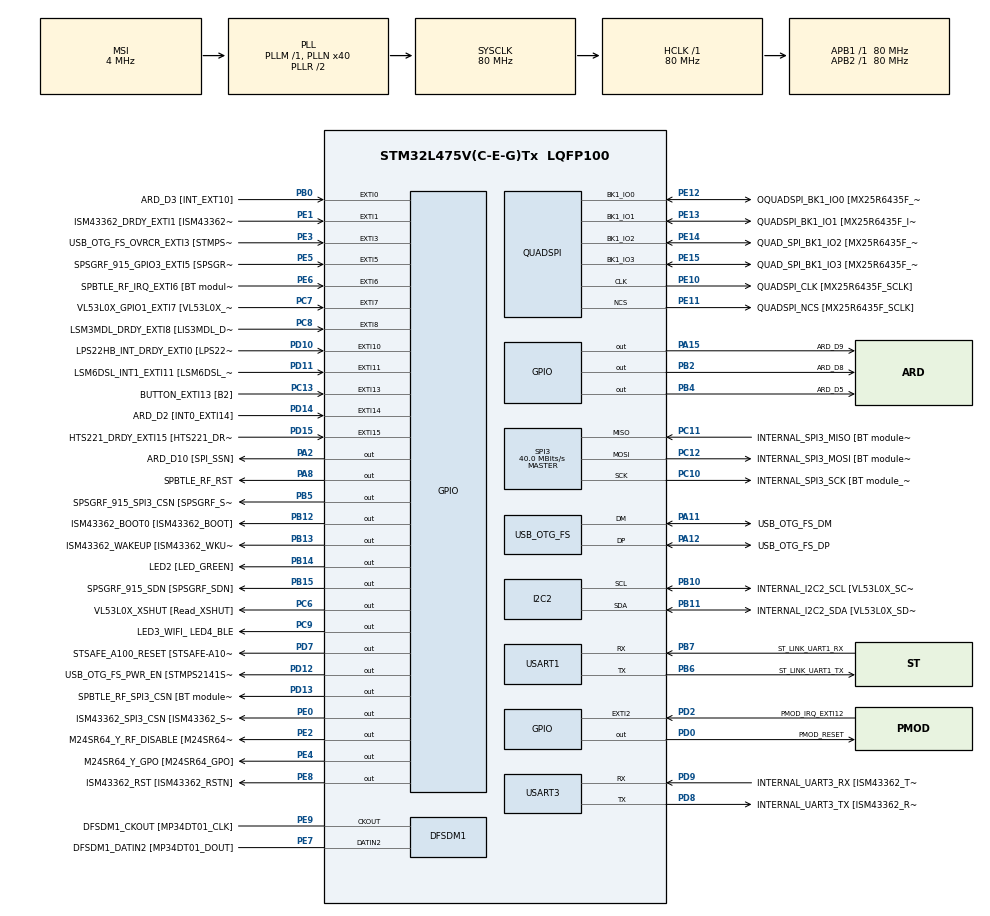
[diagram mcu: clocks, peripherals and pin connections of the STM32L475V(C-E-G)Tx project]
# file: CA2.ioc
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Mcu.Family=STM32L4
Mcu.Name=STM32L475V(C-E-G)Tx
Mcu.Package=LQFP100
NVIC.EXTI15_10_IRQn=true\:0\:0\:false\:false\:true\:true\:true\:true
NVIC.EXTI9_5_IRQn=true\:0\:0\:false\:false\:true\:true\:true\:true
NVIC.PriorityGroup=NVIC_PRIORITYGROUP_4
PA0.GPIO_Label=ARD_D1 [UART4_TX]
PA0.Signal=UART4_TX
PA1.GPIO_Label=ARD_D0 [UART4_RX]
PA1.Signal=UART4_RX
PA10.GPIO_Label=USB_OTG_FS_ID
PA10.Signal=USB_OTG_FS_ID
PA11.GPIO_Label=USB_OTG_FS_DM
PA11.Mode=Device_Only
PA11.Signal=USB_OTG_FS_DM
PA12.GPIO_Label=USB_OTG_FS_DP
PA12.Mode=Device_Only
PA12.Signal=USB_OTG_FS_DP
PA13\ (JTMS-SWDIO).GPIO_Label=SYS_JTMS_SWDIO
PA13\ (JTMS-SWDIO).Mode=Serial_Wire
PA13\ (JTMS-SWDIO).Signal=SYS_JTMS-SWDIO
PA14\ (JTCK-SWCLK).GPIO_Label=SYS_JTCK_SWCLK
PA14\ (JTCK-SWCLK).Mode=Serial_Wire
PA14\ (JTCK-SWCLK).Signal=SYS_JTCK-SWCLK
PA15\ (JTDI).GPIO_Label=ARD_D9
PA15\ (JTDI).Signal=GPIO_Output
PA2.GPIO_Label=ARD_D10 [SPI_SSN]
PA2.Signal=GPIO_Output
PA3.GPIO_Label=ARD_D4
PA3.Signal=S_TIM2_CH4
PA4.GPIO_Label=ARD_D7
PA4.Signal=ADCx_IN9
PA5.GPIO_Label=ARD_D13 [SPI1_SCK]
PA5.Signal=SPI1_SCK
PA6.GPIO_Label=ARD_D12 [SPI1_MISO]
PA6.Signal=SPI1_MISO
PA7.GPIO_Label=ARD_D11 [SPI1_MOSI]
PA7.Signal=SPI1_MOSI
PA8.GPIO_Label=SPBTLE_RF_RST
PA8.Signal=GPIO_Output
PA9.GPIO_Label=USB_OTG_FS_VBUS [STMPS2141STR_OUT]
PA9.Signal=USB_OTG_FS_VBUS
PB0.GPIO_Label=ARD_D3 [INT_EXT10]
PB0.Signal=GPXTI0
PB1.GPIO_Label=ARD_D6 [ADC1_IN6]
PB1.Signal=ADCx_IN16
PB10.GPIO_Label=INTERNAL_I2C2_SCL [VL53L0X_SCL]
PB10.GPIO_Pu=GPIO_PULLUP
PB10.Mode=I2C
PB10.Signal=I2C2_SCL
PB11.GPIO_Label=INTERNAL_I2C2_SDA [VL53L0X_SDA]
PB11.GPIO_Pu=GPIO_PULLUP
PB11.Mode=I2C
PB11.Signal=I2C2_SDA
PB12.GPIO_Label=ISM43362_BOOT0 [ISM43362_BOOT]
PB12.Signal=GPIO_Output
PB13.GPIO_Label=ISM43362_WAKEUP [ISM43362_WKUP]
PB13.Signal=GPIO_Output
PB14.GPIO_Label=LED2 [LED_GREEN]
PB14.Signal=GPIO_Output
PB15.GPIO_Label=SPSGRF_915_SDN [SPSGRF_SDN]
PB15.Signal=GPIO_Output
PB2.GPIO_Label=ARD_D8
PB2.Signal=GPIO_Output
PB3\ (JTDO-TRACESWO).GPIO_Label=SYS_JTD0_SWO
PB3\ (JTDO-TRACESWO).Signal=SYS_JTDO-SWO
PB4\ (NJTRST).GPIO_Label=ARD_D5
PB4\ (NJTRST).Signal=GPIO_Output
PB5.GPIO_Label=SPSGRF_915_SPI3_CSN [SPSGRF_SPI_CS]
PB5.PinState=GPIO_PIN_SET
PB5.Signal=GPIO_Output
PB6.GPIO_Label=ST_LINK_UART1_TX
PB6.Mode=Asynchronous
PB6.Signal=USART1_TX
PB7.GPIO_Label=ST_LINK_UART1_RX
PB7.Mode=Asynchronous
PB7.Signal=USART1_RX
PB8.GPIO_Label=ARD_D15 [I2C1_SCL]
PB8.Signal=I2C1_SCL
PB9.GPIO_Label=ARD_D14 [I2C1_SDA]
PB9.Signal=I2C1_SDA
PC0.GPIO_Label=ARD_A5 [ADC]
PC0.Signal=ADCx_IN1
PC1.GPIO_Label=ARD_A4 [ADC]
PC1.Signal=ADCx_IN2
PC10.GPIO_Label=INTERNAL_SPI3_SCK [BT module_SPI_SCLK] [ISM43362_SCK]
PC10.Mode=Full_Duplex_Master
PC10.Signal=SPI3_SCK
PC11.GPIO_Label=INTERNAL_SPI3_MISO [BT module_SPI_MISO] [ISM43362_MISO]
PC11.Mode=Full_Duplex_Master
PC11.Signal=SPI3_MISO
PC12.GPIO_Label=INTERNAL_SPI3_MOSI [BT module_SPI_MOSI] [ISM43362_MOSI]
PC12.Mode=Full_Duplex_Master
PC12.Signal=SPI3_MOSI
PC13.GPIO_Label=BUTTON_EXTI13 [B2]
PC13.GPIO_ModeDefaultEXTI=GPIO_MODE_IT_FALLING
PC13.Signal=GPXTI13
PC14-OSC32_IN\ (PC14).Mode=LSE-External-Oscillator
PC14-OSC32_IN\ (PC14).Signal=RCC_OSC32_IN
PC15-OSC32_OUT\ (PC15).Mode=LSE-External-Oscillator
PC15-OSC32_OUT\ (PC15).Signal=RCC_OSC32_OUT
PC2.GPIO_Label=ARD_A3 [ADC]
PC2.Signal=ADCx_IN3
PC3.GPIO_Label=ARD_A2 [ADC]
PC3.Signal=ADCx_IN4
PC4.GPIO_Label=ARD_A1 [ADC]
PC4.Signal=ADCx_IN13
PC5.GPIO_Label=ARD_A0 [ADC]
PC5.Signal=ADCx_IN14
PC6.GPIO_Label=VL53L0X_XSHUT [Read_XSHUT]
PC6.Signal=GPIO_Output
PC7.GPIO_Label=VL53L0X_GPIO1_EXTI7 [VL53L0X_GPIO1]
PC7.Signal=GPXTI7
PC8.GPIO_Label=LSM3MDL_DRDY_EXTI8 [LIS3MDL_DRDY]
PC8.Signal=GPXTI8
PC9.GPIO_Label=LED3_WIFI_ LED4_BLE
PC9.Signal=GPIO_Output
PD0.GPIO_Label=PMOD_RESET
PD0.Signal=GPIO_Output
PD1.GPIO_Label=PMOD_SPI2_SCK
PD1.Signal=SPI2_SCK
PD10.GPIO_Label=LPS22HB_INT_DRDY_EXTI0 [LPS22HB_INT_DRDY] 
PD10.Signal=GPXTI10
PD11.GPIO_Label=LSM6DSL_INT1_EXTI11 [LSM6DSL_INT1]
PD11.Signal=GPXTI11
PD12.GPIO_Label=USB_OTG_FS_PWR_EN [STMPS2141STR_EN]
PD12.Signal=GPIO_Output
PD13.GPIO_Label=SPBTLE_RF_SPI3_CSN [BT module_SPI_CS]
PD13.PinState=GPIO_PIN_SET
PD13.Signal=GPIO_Output
PD14.GPIO_Label=ARD_D2 [INT0_EXTI14]
PD14.Signal=GPXTI14
PD15.GPIO_Label=HTS221_DRDY_EXTI15 [HTS221_DRDY]
PD15.Signal=GPXTI15
PD2.GPIO_Label=PMOD_IRQ_EXTI12
PD2.Signal=GPXTI2
PD3.GPIO_Label=PMOD_UART2_CTS
PD3.Signal=USART2_CTS
PD4.GPIO_Label=PMOD_UART2_RTS
PD4.Signal=USART2_RTS
PD5.GPIO_Label=PMOD_UART2_TX
PD5.Signal=USART2_TX
PD6.GPIO_Label=PMOD_UART2_RX
PD6.Signal=USART2_RX
PD7.GPIO_Label=STSAFE_A100_RESET [STSAFE-A100_RESET]
PD7.Signal=GPIO_Output
PD8.GPIO_Label=INTERNAL_UART3_TX [ISM43362_RX]
PD8.Mode=Asynchronous
PD8.Signal=USART3_TX
PD9.GPIO_Label=INTERNAL_UART3_RX [ISM43362_TX]
PD9.Mode=Asynchronous
PD9.Signal=USART3_RX
PE0.GPIO_Label=ISM43362_SPI3_CSN [ISM43362_SSN]
PE0.PinState=GPIO_PIN_SET
PE0.Signal=GPIO_Output
PE1.GPIO_Label=ISM43362_DRDY_EXTI1 [ISM43362_DATARDY]
PE1.Signal=GPXTI1
PE10.GPIO_Label=QUADSPI_CLK [MX25R6435F_SCLK]
PE10.Mode=Single Bank
PE10.Signal=QUADSPI_CLK
PE11.GPIO_Label=QUADSPI_NCS [MX25R6435F_SCLK]
PE11.Mode=Single Bank
PE11.Signal=QUADSPI_NCS
PE12.GPIO_Label=OQUADSPI_BK1_IO0 [MX25R6435F_IO0]
PE12.Mode=Single Bank
PE12.Signal=QUADSPI_BK1_IO0
PE13.GPIO_Label=QUADSPI_BK1_IO1 [MX25R6435F_IO1]
PE13.Mode=Single Bank
PE13.Signal=QUADSPI_BK1_IO1
PE14.GPIO_Label=QUAD_SPI_BK1_IO2 [MX25R6435F_IO2]
PE14.Mode=Single Bank
PE14.Signal=QUADSPI_BK1_IO2
PE15.GPIO_Label=QUAD_SPI_BK1_IO3 [MX25R6435F_IO3]
PE15.Mode=Single Bank
PE15.Signal=QUADSPI_BK1_IO3
PE2.GPIO_Label=M24SR64_Y_RF_DISABLE [M24SR64_RFDIS]
PE2.Signal=GPIO_Output
PE3.GPIO_Label=USB_OTG_FS_OVRCR_EXTI3 [STMPS2141STR_FAULT]
PE3.Signal=GPXTI3
PE4.GPIO_Label=M24SR64_Y_GPO [M24SR64_GPO]
PE4.Signal=GPIO_Output
PE5.GPIO_Label=SPSGRF_915_GPIO3_EXTI5 [SPSGRF_GPIO_3]
PE5.Signal=GPXTI5
PE6.GPIO_Label=SPBTLE_RF_IRQ_EXTI6 [BT module_SPI_IRQ]
PE6.Signal=GPXTI6
PE7.GPIO_Label=DFSDM1_DATIN2 [MP34DT01_DOUT]
PE7.Signal=S_DATAIN2DFSDM1
PE8.GPIO_Label=ISM43362_RST [ISM43362_RSTN]
PE8.Signal=GPIO_Output
PE9.GPIO_Label=DFSDM1_CKOUT [MP34DT01_CLK]
PE9.Signal=S_CKOUTDFSDM1
ProjectManager.HeapSize=0x200
ProjectManager.StackSize=0x400
ProjectManager.TargetToolchain=STM32CubeIDE
QUADSPI.ClockPrescaler=2
QUADSPI.FifoThreshold=4
QUADSPI.FlashSize=23
QUADSPI.SampleShifting=QSPI_SAMPLE_SHIFTING_HALFCYCLE
RCC.ADCFreq_Value=48000000
RCC.AHBFreq_Value=80000000
RCC.APB1Freq_Value=80000000
RCC.APB1TimFreq_Value=80000000
RCC.APB2Freq_Value=80000000
RCC.APB2TimFreq_Value=80000000
RCC.CortexFreq_Value=80000000
RCC.HCLKFreq_Value=80000000
RCC.HSE_VALUE=8000000
RCC.HSI_VALUE=16000000
RCC.MSI_VALUE=4000000
RCC.PLLN=40
RCC.PLLSAI1N=24
RCC.SYSCLKFreq_VALUE=80000000
RCC.SYSCLKSource=RCC_SYSCLKSOURCE_PLLCLK
RCC.USBFreq_Value=48000000
RCC.VCOOutputFreq_Value=160000000
SH.ADCx_IN1.0=ADC1_IN1
SH.ADCx_IN13.0=ADC1_IN13
SH.ADCx_IN14.0=ADC1_IN14
SH.ADCx_IN16.0=ADC1_IN16
SH.ADCx_IN2.0=ADC1_IN2
SH.ADCx_IN3.0=ADC1_IN3
SH.ADCx_IN4.0=ADC1_IN4
SH.ADCx_IN9.0=ADC1_IN9
SH.S_CKOUTDFSDM1.0=DFSDM1_CKOUT,CKOUT
SH.S_CKOUTDFSDM1.1=DFSDM1_CKOUT,PDM_SPI_Input_from_ch12_and_Internal_Clock
SH.S_DATAIN2DFSDM1.0=DFSDM1_DATIN2,PDM_SPI_Input_from_ch12_and_Internal_Clock
SH.S_TIM2_CH4.0=TIM2_CH4
SPI3.CalculateBaudRate=40.0 MBits/s
SPI3.Direction=SPI_DIRECTION_2LINES
SPI3.Mode=SPI_MODE_MASTER
SPI3.VirtualType=VM_MASTER
USART1.VirtualMode-Asynchronous=VM_ASYNC
USART3.VirtualMode-Asynchronous=VM_ASYNC
USB_OTG_FS.VirtualMode=Device_Only
board=B-L475E-IOT01A1

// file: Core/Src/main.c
/* USER CODE BEGIN Header */
/**
  ******************************************************************************
  * @file           : main.c
  * @brief          : Main program body
  ******************************************************************************
  * @attention
  *
  * Copyright (c) 2025 STMicroelectronics.
  * All rights reserved.
  *
  * This software is licensed under terms that can be found in the LICENSE file
  * in the root directory of this software component.
  * If no LICENSE file comes with this software, it is provided AS-IS.
  *
  ******************************************************************************
  */
/* USER CODE END Header */
#include "main.h"

/* USER CODE BEGIN Includes */
#include "../../Drivers/BSP/B-L475E-IOT01/stm32l475e_iot01_tsensor.h"
#include "../../Drivers/BSP/B-L475E-IOT01/stm32l475e_iot01_hsensor.h"
#include "../../Drivers/BSP/B-L475E-IOT01/stm32l475e_iot01_psensor.h"
#include "../../Drivers/BSP/B-L475E-IOT01/stm32l475e_iot01_accelero.h"
#include "../../Drivers/BSP/B-L475E-IOT01/stm32l475e_iot01_gyro.h"
#include "../../Drivers/BSP/B-L475E-IOT01/stm32l475e_iot01_magneto.h"
#include "../../Drivers/STM32L4xx_HAL_Driver/Inc/stm32l4xx_hal.h"
#include <time.h>
#include <stdlib.h>
#include <stdio.h>
#include <math.h>
#include <float.h>

/* USER CODE END Includes */

/* USER CODE BEGIN PTD */

typedef enum {
    MODE_RANDOM,
    MODE_FULL_BUFFER,
	MODE_PREDICTIVE
} TransmissionMode;

TransmissionMode transmissionMode = MODE_FULL_BUFFER; // Default to Full buffer mode

/*
 * ODR values:
 *
 * humidity/temp: 1Hz
 * accel/gyro: 52Hz
 * pressure: 25Hz
 * magnetometer: 40Hz
 */

#define TEMP_BUFFER_CAPACITY       5
#define HUMIDITY_BUFFER_CAPACITY   5
#define ACCEL_BUFFER_CAPACITY      50
#define GYRO_BUFFER_CAPACITY       50
#define PRESSURE_BUFFER_CAPACITY   20
#define MAG_BUFFER_CAPACITY        40

#define TRANSMISSION_INTERVAL 1000 //used to test when using interval transmissions for data loss
uint32_t lastTransmissionTime = 0;

// FIFO structure for scalar (float) sensor data (e.g. temperature, humidity, pressure)
typedef struct {
    float *data;
    uint8_t head;
    uint8_t tail;
    uint8_t count;
    uint32_t *timestamp;
    uint8_t capacity;
} FIFO_Float;

// Structure for 3-axis vector data (e.g. accelerometer, magnetometer)

typedef struct {
    float x;
    float y;
    float z;
} Vector3;

typedef struct {
    Vector3 *data;
    uint8_t head;
    uint8_t tail;
    uint8_t count;
    uint32_t *timestamp;
    uint8_t capacity;
} FIFO_Vector;

/* USER CODE END PTD */

/* USER CODE BEGIN PD */

// Threshold definitions
#define HIGH_TEMP_THRESHOLD    27.0f    // High temp threshold in degC default 27
#define LOW_HUMIDITY_THRESHOLD 30.0f    // Humidity low threshold in %
#define HIGH_HUMIDITY_THRESHOLD 101.0f	// Humidity high threshold in %, set at 101 to disable, 70 as spec
#define VIBRATION_THRESHOLD_X    2.0f     // 1 m/s^2 is default threadhold. Using 11 for testing purposes.
#define VIBRATION_THRESHOLD_Y    2.0f
#define VIBRATION_THRESHOLD_Z    11.0f

/* USER CODE END PD */

DFSDM_Channel_HandleTypeDef hdfsdm1_channel1;

I2C_HandleTypeDef hi2c2;

QSPI_HandleTypeDef hqspi;

SPI_HandleTypeDef hspi3;

UART_HandleTypeDef huart1;
UART_HandleTypeDef huart3;

PCD_HandleTypeDef hpcd_USB_OTG_FS;

/* USER CODE BEGIN PV */

volatile uint8_t criticalEventFlag = 0;
volatile uint8_t lowPowerState = 0;
uint32_t lastCriticalAlertTime = 0;

// Global FIFO buffers for each sensor:
FIFO_Float fifoTemp;
FIFO_Float fifoHumidity;
FIFO_Float fifoPressure;
FIFO_Vector fifoAccel;
FIFO_Vector fifoGyro;
FIFO_Vector fifoMagneto;

/* USER CODE END PV */

void SystemClock_Config(void);
static void MX_GPIO_Init(void);
static void MX_DFSDM1_Init(void);
static void MX_I2C2_Init(void);
static void MX_QUADSPI_Init(void);
static void MX_SPI3_Init(void);
static void MX_USART1_UART_Init(void);
static void MX_USART3_UART_Init(void);
static void MX_USB_OTG_FS_PCD_Init(void);
/* USER CODE BEGIN PFP */

uint8_t HTS221_Temp_Data_Ready(uint16_t DeviceAddr); //Temperature sensor
uint8_t HTS221_Hum_Data_Ready(uint16_t DeviceAddr); //Humidity sensor
uint8_t LPS22HB_Data_Ready(uint8_t DeviceAddr); //Pressure sensor
uint8_t LIS3MDL_Data_Ready(uint8_t DeviceAddr); //Magnetometer sensor
uint8_t LSM6DSL_Gyro_Data_Ready(uint8_t DeviceAddr); //Gyroscope sensor
uint8_t LSM6DSL_Acc_Data_Ready(uint8_t DeviceAddr); //Accelerometer sensor

// Temperature buffers
static float     tempData[TEMP_BUFFER_CAPACITY];
static uint32_t  tempTimestamps[TEMP_BUFFER_CAPACITY];

// Humidity
static float     humidityData[HUMIDITY_BUFFER_CAPACITY];
static uint32_t  humidityTimestamps[HUMIDITY_BUFFER_CAPACITY];

// Pressure
static float     pressureData[PRESSURE_BUFFER_CAPACITY];
static uint32_t  pressureTimestamps[PRESSURE_BUFFER_CAPACITY];

// Accelerometer
static Vector3   accelData[ACCEL_BUFFER_CAPACITY];
static uint32_t  accelTimestamps[ACCEL_BUFFER_CAPACITY];

// Gyroscope
static Vector3 gyroData[GYRO_BUFFER_CAPACITY];
static uint32_t gyroTimestamps[GYRO_BUFFER_CAPACITY];

// Magnetometer
static Vector3   magnetoData[MAG_BUFFER_CAPACITY];
static uint32_t  magnetoTimestamps[MAG_BUFFER_CAPACITY];

void HandleCriticalEvent(void);

//Blue button triggers interrupt
HAL_GPIO_EXTI_Callback(uint16_t GPIO_Pin){
	if(GPIO_Pin == BUTTON_EXTI13_Pin){
//		HAL_GPIO_TogglePin(GPIOB, GPIO_PIN_14);
		printf("\t Blue button is pressed.\r\n");
		toggleTransmissionMode();

	}
}

// FIFO push functions, return -1 if the FIFO is full
int pushFIFO_Float(FIFO_Float *fifo, float value)
{
    // Check if full
    if (fifo->count >= fifo->capacity) {
        return -1;
    }
    fifo->data[fifo->tail] = value;
    fifo->timestamp[fifo->tail] = HAL_GetTick();

    fifo->tail = (fifo->tail + 1) % fifo->capacity;
    fifo->count++;
    return 0;
}

int popFIFO_Float(FIFO_Float *fifo, float *value, uint32_t *timestamp)
{
    if (fifo->count == 0) {
        return -1;
    }
    *value     = fifo->data[fifo->head];
    *timestamp = fifo->timestamp[fifo->head];

    fifo->head = (fifo->head + 1) % fifo->capacity;
    fifo->count--;
    return 0;
}

// Same idea for vectors, they return -1 if the FIFO is full
int pushFIFO_Vector(FIFO_Vector *fifo, Vector3 value)
{
    if (fifo->count >= fifo->capacity) {
        return -1;
    }
    fifo->data[fifo->tail] = value;
    fifo->timestamp[fifo->tail] = HAL_GetTick();

    fifo->tail = (fifo->tail + 1) % fifo->capacity;
    fifo->count++;
    return 0;
}

int popFIFO_Vector(FIFO_Vector *fifo, Vector3 *value, uint32_t *timestamp)
{
    if (fifo->count == 0) {
        return -1;
    }
    *value     = fifo->data[fifo->head];
    *timestamp = fifo->timestamp[fifo->head];

    fifo->head = (fifo->head + 1) % fifo->capacity;
    fifo->count--;
    return 0;
}
void transmitEntireFIFO_Float(FIFO_Float *fifo, const char *sensorName) {
    float value;
    uint32_t timestamp;
    while (popFIFO_Float(fifo, &value, &timestamp) == 0) {
        // Transmit sensor name, value, and timestamp.
        printf("%s,%lu,%f\r\n", sensorName, timestamp, value);
    }
}

void transmitEntireFIFO_Vector(FIFO_Vector *fifo, const char *sensorName) {
    Vector3 value;
    uint32_t timestamp;
    while (popFIFO_Vector(fifo, &value, &timestamp) == 0) {
        // Transmit sensor name, X, Y, Z values and timestamp.
        printf("%s,%lu,%f,%f,%f\r\n", sensorName, timestamp, value.x, value.y, value.z);
    }
}

extern void initialise_monitor_handles(void);
/* USER CODE END PFP */

/* USER CODE BEGIN 0 */

//To print to terminal
int _write(int file, char *ptr, int len)
{
    HAL_UART_Transmit(&huart1, (uint8_t *)ptr, len, HAL_MAX_DELAY);
    return len;
}

void toggleTransmissionMode(void) {
    if (transmissionMode == MODE_RANDOM) {
        transmissionMode = MODE_FULL_BUFFER;
    } else if (transmissionMode == MODE_FULL_BUFFER) {
        transmissionMode = MODE_PREDICTIVE;
    } else if (transmissionMode == MODE_PREDICTIVE) {
        transmissionMode = MODE_RANDOM;
    }

    if (transmissionMode == MODE_RANDOM) {
        printf("Transmission mode toggled to: RANDOM MODE\r\n");
    } else if (transmissionMode == MODE_FULL_BUFFER) {
        printf("Transmission mode toggled to: FULL BUFFER MODE\r\n");
    } else if (transmissionMode == MODE_PREDICTIVE) {
        printf("Transmission mode toggled to: PREDICTIVE MODE\r\n");
    }
}

void transmitRandomBuffer(void) {
    int choice = rand() % 6; // Randomly select one of the 6 sensor buffers
    switch (choice) {
        case 0:
            if (fifoTemp.count > 0) {
                transmitEntireFIFO_Float(&fifoTemp, "Temperature");
            }
            break;
        case 1:
            if (fifoHumidity.count > 0) {
                transmitEntireFIFO_Float(&fifoHumidity, "Humidity");
            }
            break;
        case 2:
            if (fifoPressure.count > 0) {
                transmitEntireFIFO_Float(&fifoPressure, "Pressure");
            }
            break;
        case 3:
            if (fifoAccel.count > 0) {
                transmitEntireFIFO_Vector(&fifoAccel, "Accelerometer");
            }
            break;
        case 4:
            if (fifoGyro.count > 0) {
                transmitEntireFIFO_Vector(&fifoGyro, "Gyroscope");
            }
            break;
        case 5:
            if (fifoMagneto.count > 0) {
                transmitEntireFIFO_Vector(&fifoMagneto, "Magnetometer");
            }
            break;
        default:
            break;
    }
}

float getFIFO_timeToFillFloat(FIFO_Float *fifo) {
    if (fifo->count == 0) {
        return -1.0f;
    }
    // Use (HAL_GetTick() - fifo->timestamp[fifo->tail]) and fifo->count
    // to estimate average time between samples.
    float inputRate = (HAL_GetTick() - fifo->timestamp[fifo->tail]) / (float)fifo->count;

    // Get remaining unoccupied slots from this FIFO’s capacity
    uint16_t remainingCapacity = fifo->capacity - fifo->count;

    // Time to fill the remaining slots = remaining slots * average time per sample
    return remainingCapacity / inputRate;
}

float getFIFO_timeToFillVector(FIFO_Vector *fifo) {
    if (fifo->count == 0) {
        return -1.0f;
    }
    float inputRate = (HAL_GetTick() - fifo->timestamp[fifo->tail]) / (float)fifo->count;
    uint16_t remainingCapacity = fifo->capacity - fifo->count;
    return remainingCapacity / inputRate;
}

void transmitFullBuffers(void)
{
    uint8_t thresholdTemp     = (fifoTemp.capacity * 99) / 100;
    uint8_t thresholdHumidity = (fifoHumidity.capacity * 99) / 100;
    uint8_t thresholdPressure = (fifoPressure.capacity * 99) / 100;
    uint8_t thresholdAccel    = (fifoAccel.capacity    * 90) / 100;
    uint8_t thresholdGyro  = (fifoGyro.capacity  * 90) / 100;
    uint8_t thresholdMagneto  = (fifoMagneto.capacity  * 99) / 100;

    if (fifoTemp.count >= thresholdTemp) {
        transmitEntireFIFO_Float(&fifoTemp, "Temperature");
    } else if (fifoHumidity.count >= thresholdHumidity) {
        transmitEntireFIFO_Float(&fifoHumidity, "Humidity");
    } else if (fifoPressure.count >= thresholdPressure) {
        transmitEntireFIFO_Float(&fifoPressure, "Pressure");
    } else if (fifoAccel.count >= thresholdAccel) {
        transmitEntireFIFO_Vector(&fifoAccel, "Accelerometer");
    } else if (fifoMagneto.count >= thresholdMagneto) {
        transmitEntireFIFO_Vector(&fifoMagneto, "Magnetometer");
    } else if (fifoGyro.count >= thresholdGyro) {
        transmitEntireFIFO_Vector(&fifoGyro, "Gyroscope");
    }
}

char* getMostFilledBuffer(void) {
 float minTimeToFill = FLT_MAX;
 char* minBuffer = NULL;
    if (fifoTemp.count > 0) {
     float timeToFill = getFIFO_timeToFillFloat(&fifoTemp); // Use input frequency and occupancy to calculate time for remaining cap to fill
     if (minTimeToFill > timeToFill) {
      minTimeToFill = timeToFill;
      minBuffer = "Temperature";
     }
    }
    if (fifoHumidity.count > 0) {
     float timeToFill = getFIFO_timeToFillFloat(&fifoHumidity);
     if (minTimeToFill > timeToFill) {
      minTimeToFill = timeToFill;
      minBuffer = "Humidity";
     }
    }
    if (fifoPressure.count > 0) {
     float timeToFill = getFIFO_timeToFillFloat(&fifoPressure);
     if (minTimeToFill > timeToFill) {
      minTimeToFill = timeToFill;
      minBuffer = "Pressure";
     }
    }
    if (fifoAccel.count > 0) {
     float timeToFill = getFIFO_timeToFillVector(&fifoAccel);
     if (minTimeToFill > timeToFill) {
      minTimeToFill = timeToFill;
      minBuffer = "Accelerometer";
     }
    }
    if (fifoMagneto.count > 0) {
     float timeToFill = getFIFO_timeToFillVector(&fifoMagneto);
     if (minTimeToFill > timeToFill) {
      minTimeToFill = timeToFill;
      minBuffer = "Magneto";
     }
    }
    if (fifoGyro.count > 0) {
     float timeToFill = getFIFO_timeToFillVector(&fifoGyro);
     if (minTimeToFill > timeToFill) {
      minTimeToFill = timeToFill;
      minBuffer = "Gyro";
     }
    }

    return minBuffer;
}

void transmitpredictiveBuffers(const char* selectedBuffer) {
 if (strcmp(selectedBuffer,"Temperature") == 0) {
  transmitEntireFIFO_Float(&fifoTemp, "Temperature");
 } else if (strcmp(selectedBuffer,"Humidity") == 0) {
  transmitEntireFIFO_Float(&fifoHumidity, "Humidity");
 } else if (strcmp(selectedBuffer,"Pressure") == 0) {
  transmitEntireFIFO_Float(&fifoPressure, "Pressure");
 } else if (strcmp(selectedBuffer,"Gyro") == 0) {
  transmitEntireFIFO_Vector(&fifoGyro, "Gyroscope");
 }  else if (strcmp(selectedBuffer,"Accelerometer") == 0) {
  transmitEntireFIFO_Vector(&fifoAccel, "Accelerometer");
 } else if (strcmp(selectedBuffer,"Magneto") == 0) {
  transmitEntireFIFO_Vector(&fifoMagneto, "Magnetometer");
 }
}

/* USER CODE END 0 */

int main(void)
{

  /* MCU Configuration--------------------------------------------------------*/

  /* Reset of all peripherals, Initializes the Flash interface and the Systick. */
	initialise_monitor_handles();
	HAL_Init();

  /* Configure the system clock */
  SystemClock_Config();

  /* USER CODE BEGIN SysInit */
  __HAL_RCC_PWR_CLK_ENABLE();
  HAL_PWR_EnableBkUpAccess();
  /* USER CODE END SysInit */

  /* Initialize all configured peripherals */
  MX_GPIO_Init();
  MX_DFSDM1_Init();
  MX_I2C2_Init();
  MX_QUADSPI_Init();
  MX_SPI3_Init();
  MX_USART1_UART_Init();
  MX_USART3_UART_Init();
  MX_USB_OTG_FS_PCD_Init();

  /* USER CODE BEGIN 2 */
  BSP_TSENSOR_Init();//Temperature init
  BSP_HSENSOR_Init();//Humidity init
  BSP_PSENSOR_Init();//Pressure init
  BSP_MAGNETO_Init();//Magnetometer init
  BSP_GYRO_Init();//Gyroscope init
  BSP_ACCELERO_Init();//Accelerometer init

  fifoTemp.data      = tempData;
  fifoTemp.timestamp = tempTimestamps;
  fifoTemp.capacity  = TEMP_BUFFER_CAPACITY;
  fifoTemp.head = fifoTemp.tail = fifoTemp.count = 0;

  fifoHumidity.data      = humidityData;
  fifoHumidity.timestamp = humidityTimestamps;
  fifoHumidity.capacity  = HUMIDITY_BUFFER_CAPACITY;
  fifoHumidity.head = fifoHumidity.tail = fifoHumidity.count = 0;

  fifoPressure.data      = pressureData;
  fifoPressure.timestamp = pressureTimestamps;
  fifoPressure.capacity  = PRESSURE_BUFFER_CAPACITY;
  fifoPressure.head = fifoPressure.tail = fifoPressure.count = 0;

  fifoAccel.data      = accelData;
  fifoAccel.timestamp = accelTimestamps;
  fifoAccel.capacity  = ACCEL_BUFFER_CAPACITY;
  fifoAccel.head = fifoAccel.tail = fifoAccel.count = 0;

  fifoGyro.data      = gyroData;
  fifoGyro.timestamp = gyroTimestamps;
  fifoGyro.capacity  = GYRO_BUFFER_CAPACITY;
  fifoGyro.head = fifoGyro.tail = fifoGyro.count = 0;

  fifoMagneto.data      = magnetoData;
  fifoMagneto.timestamp = magnetoTimestamps;
  fifoMagneto.capacity  = MAG_BUFFER_CAPACITY;
  fifoMagneto.head = fifoMagneto.tail = fifoMagneto.count = 0;

  srand(HAL_GetTick());// Seed RNG

  int getRandomDelay(void)
  {
      return (rand() % 11) + 10;
  }

//  Adds random error in sensor outputs
  float getRandomErrorFactor(void)
  {
      return ((float)rand() / (float)RAND_MAX) * 0.1f - 0.05f;
  }

  uint32_t now = HAL_GetTick();

  // Generate an initial random 10-20ms delay for each sensor
  uint32_t randDelayTempHum   = getRandomDelay();
  uint32_t randDelayAccelGyro = getRandomDelay();
  uint32_t randDelayPressure  = getRandomDelay();
  uint32_t randDelayMagneto   = getRandomDelay();

  // Initialize last poll timestamps to current time plus base period plus random delay.
  uint32_t lastTempHumPoll   = now + (uint32_t)(1000.0 / 1.0)  + randDelayTempHum;   // 1Hz sensor
  uint32_t lastAccelGyroPoll = now + (uint32_t)(1000.0 / 52.0) + randDelayAccelGyro; // 52Hz sensor
  uint32_t lastPressurePoll  = now + (uint32_t)(1000.0 / 25.0) + randDelayPressure;  // 25Hz sensor
  uint32_t lastMagnetoPoll   = now + (uint32_t)(1000.0 / 40.0) + randDelayMagneto;   // 40Hz sensor

  /* USER CODE END 2 */

  while (1)
  /* Infinite loop */
  /* USER CODE BEGIN WHILE */
  {

	uint32_t now = HAL_GetTick();
//	printf("HALTick %lu\r\n",now);

	if (criticalEventFlag)
		{
	         HandleCriticalEvent();
	         lowPowerState = 0;
	         lastCriticalAlertTime = now;
	     }
	else{
	 // Poll Humidity/Temperature sensor at ~1Hz (1000ms + random 10-20ms)

		if (now >= lastTempHumPoll)
		{
			uint32_t sensorReadTime = HAL_GetTick();
		    int randPollDelay = getRandomDelay();
		    lastTempHumPoll = now + 1000 + randPollDelay;

		    float temp = BSP_TSENSOR_ReadTemp();
		    float humidity = BSP_HSENSOR_ReadHumidity();

		    // Add error to readings
		    float tempError = getRandomErrorFactor();
		    float humError  = getRandomErrorFactor();
		    float newTemp = temp * (1.0f + tempError);
		    float newHumidity = humidity * (1.0f + humError);

		    if (newHumidity > 100.0f) {
		         newHumidity = 100.0f;
		    }

		    if (pushFIFO_Float(&fifoTemp, newTemp) != 0)
		         printf("Temperature FIFO full, discarding reading.\r\n");
		    if (pushFIFO_Float(&fifoHumidity, newHumidity) != 0)
		         printf("Humidity FIFO full, discarding reading.\r\n");

		    if (newTemp > HIGH_TEMP_THRESHOLD)
		    {
		         uint32_t alertTime = HAL_GetTick();
		         uint32_t sensorDelay = alertTime - sensorReadTime + randPollDelay;
		         uint32_t responseDelay = sensorDelay;
		         // Activate and confirm cooler actuator, else report failure
		         printf("** Alert: %lu High temperature alert: %f C. Sensor delay: %lu ms, Response delay: %lu ms. Activating cooler **\r\n",
		        		 alertTime,newTemp, sensorDelay, responseDelay);
		    }

		    if (newHumidity < LOW_HUMIDITY_THRESHOLD)
		    {
		         uint32_t alertTime = HAL_GetTick();
		         uint32_t sensorDelay = alertTime - sensorReadTime + randPollDelay;
		         uint32_t responseDelay = sensorDelay;
		         // Activate and confirm humidifier actuator, else report failure
		         printf("** Alert: %lu Low humidity alert: %f%%! Sensor delay: %lu ms, Response delay: %lu ms. Activating Humidifier. **\r\n",
		        		 alertTime, newHumidity, sensorDelay, responseDelay);
		    }
		    if (newHumidity > HIGH_HUMIDITY_THRESHOLD)
		    {
		         uint32_t alertTime = HAL_GetTick();
		         uint32_t sensorDelay = alertTime - sensorReadTime + randPollDelay;
		         uint32_t responseDelay = sensorDelay;
		         // Activate and confirm dehumidifier actuator, else report failure
		         printf("** Alert: %lu High humidity alert: %f%%. Sensor delay: %lu ms, Response delay: %lu ms **\r\n",
		        		 alertTime, newHumidity, sensorDelay, responseDelay);
		    }
		}

	    // Poll Accelerometer/Gyro at ~52Hz (19ms + random 10-20ms)
		if (now >= lastAccelGyroPoll)
		{
		    int randPollDelay = getRandomDelay();
		    lastAccelGyroPoll = now + 19 + randPollDelay;

		    // Capture accelerometer sensor reading timestamp
		    uint32_t accelSensorTime = HAL_GetTick();

		    int16_t accel_data_i16[3] = {0};
		    BSP_ACCELERO_AccGetXYZ(accel_data_i16);
		    float accel_data[3];
		    Vector3 accelReading;
		    for (int i = 0; i < 3; i++)
		    {
		         float error = getRandomErrorFactor();
		         accel_data[i] = (accel_data_i16[i] / 100.0f) * (1.0f + error);
		    }

		    accelReading.x = accel_data[0];
		    accelReading.y = accel_data[1];
		    accelReading.z = accel_data[2];
		    if (pushFIFO_Vector(&fifoAccel, accelReading) != 0)
		         printf("Accelerometer FIFO full, discarding reading.\r\n");

		    // Check for vibration alert condition and log delays:
		    if (fabs(accel_data[0]) > VIBRATION_THRESHOLD_X ||
		        fabs(accel_data[1]) > VIBRATION_THRESHOLD_Y ||
		        fabs(accel_data[2]) > VIBRATION_THRESHOLD_Z)
		    {
		        uint32_t alertTime = HAL_GetTick();
		        uint32_t sensorDelay = alertTime - accelSensorTime + randPollDelay;
		        uint32_t responseDelay = sensorDelay;

		        // Build a string of violated axes.
		        char violatedAxes[32] = "";
		        if (fabs(accel_data[0]) > VIBRATION_THRESHOLD_X) {
		            strcat(violatedAxes, "X ");
		        }
		        if (fabs(accel_data[1]) > VIBRATION_THRESHOLD_Y) {
		            strcat(violatedAxes, "Y ");
		        }
		        if (fabs(accel_data[2]) > VIBRATION_THRESHOLD_Z) {
		            strcat(violatedAxes, "Z ");
		        }

		        // Immediately transmit the alert including the accelerometer values and which axes are violated
		        printf("** Alert: %lu Vibration warning! Sensor delay: %lu ms, Response delay: %lu ms, Accel: %f, %f, %f, Violated: %s**\r\n",
		               alertTime, sensorDelay, responseDelay,
		               accel_data[0], accel_data[1], accel_data[2], violatedAxes);
		        HAL_GPIO_TogglePin(GPIOB, GPIO_PIN_14);
		        HAL_GPIO_TogglePin(GPIOC, GPIO_PIN_9);
		        criticalEventFlag = 1;
		    }
		    // --- Read Gyroscope Data ---
		        int16_t gyro_data_i16[3] = {0};
		        BSP_GYRO_GetXYZ(gyro_data_i16);
		        float gyro_data[3];
		        Vector3 gyroReading;
		        for (int i = 0; i < 3; i++)
		        {
		             float error = getRandomErrorFactor();
		             gyro_data[i] = (gyro_data_i16[i] / 100.0f) * (1.0f + error);
		        }
		        gyroReading.x = gyro_data[0];
		        gyroReading.y = gyro_data[1];
		        gyroReading.z = gyro_data[2];
		        if (pushFIFO_Vector(&fifoGyro, gyroReading) != 0)
		             printf("Gyroscope FIFO full, discarding reading.\r\n");
		}

	    // Poll Pressure sensor at ~25Hz (40ms + random 10-20ms)
	    if (now >= lastPressurePoll)
	    {
	         int randPollDelay = getRandomDelay();
	         lastPressurePoll = now + 40 + randPollDelay;
	         float pressure = BSP_PSENSOR_ReadPressure();
	         float error = getRandomErrorFactor();
	         float newPressure = pressure * (1.0f + error);
	         if (pushFIFO_Float(&fifoPressure, newPressure) != 0)
	                 printf("Pressure FIFO full, discarding reading.\r\n");
//	         printf("Pressure: %f hPa\r\n", newPressure);
	    }

	    // Poll Magnetometer sensor at ~40Hz (25ms + random 10-20ms)
	    if (now >= lastMagnetoPoll)
	    {
	         int randPollDelay = getRandomDelay();
	         lastMagnetoPoll = now + 25 + randPollDelay;
	         int16_t magneto_data[3] = {0};
	         BSP_MAGNETO_GetXYZ(magneto_data);
	         float newMagneto[3];
	         Vector3 magnetoReading;
	         for (int i = 0; i < 3; i++)
	             {
	                 float error = getRandomErrorFactor();
	                 newMagneto[i] = magneto_data[i] * (1.0f + error);
	             }
	         magnetoReading.x = newMagneto[0];
	         magnetoReading.y = newMagneto[1];
	         magnetoReading.z = newMagneto[2];
	         if (pushFIFO_Vector(&fifoMagneto, magnetoReading) != 0)
	             printf("Magnetometer FIFO full, discarding reading.\r\n");
//	         printf("Magnetometer: X: %f, Y: %f, Z: %f\r\n", newMagneto[0], newMagneto[1], newMagneto[2]);

	    }

        if (transmissionMode == MODE_FULL_BUFFER)
        {
            transmitFullBuffers();
        }
        if (transmissionMode == MODE_PREDICTIVE)
        {
        	transmitpredictiveBuffers(getMostFilledBuffer());
        }

        if (transmissionMode == MODE_RANDOM)
        {
            transmitRandomBuffer();
        }

        // For simulation to test data loss due to buffer full
//        if ((now - lastTransmissionTime) >= TRANSMISSION_INTERVAL)
//        {
//            if (transmissionMode == MODE_RANDOM)
//            {
//                transmitRandomBuffer();
//            }
//
//            lastTransmissionTime = now;
//        }
	}

	    HAL_Delay(1);

	if (!lowPowerState && ((HAL_GetTick() - lastCriticalAlertTime) > 5000U))
    {
         printf("No critical alerts for 5s. Entering low-power state...\r\n");
         lowPowerState = 1;
    }
  }
  /* USER CODE END WHILE */

}

void SystemClock_Config(void)
{
  RCC_OscInitTypeDef RCC_OscInitStruct = {0};
  RCC_ClkInitTypeDef RCC_ClkInitStruct = {0};

  /** Configure the main internal regulator output voltage
  */
  if (HAL_PWREx_ControlVoltageScaling(PWR_REGULATOR_VOLTAGE_SCALE1) != HAL_OK)
  {
    Error_Handler();
  }

  /** Configure LSE Drive Capability
  */
  HAL_PWR_EnableBkUpAccess();
  __HAL_RCC_LSEDRIVE_CONFIG(RCC_LSEDRIVE_LOW);

  /** Initializes the RCC Oscillators according to the specified parameters
  * in the RCC_OscInitTypeDef structure.
  */
  RCC_OscInitStruct.OscillatorType = RCC_OSCILLATORTYPE_LSE|RCC_OSCILLATORTYPE_MSI;
  RCC_OscInitStruct.LSEState = RCC_LSE_ON;
  RCC_OscInitStruct.MSIState = RCC_MSI_ON;
  RCC_OscInitStruct.MSICalibrationValue = 0;
  RCC_OscInitStruct.MSIClockRange = RCC_MSIRANGE_6;
  RCC_OscInitStruct.PLL.PLLState = RCC_PLL_ON;
  RCC_OscInitStruct.PLL.PLLSource = RCC_PLLSOURCE_MSI;
  RCC_OscInitStruct.PLL.PLLM = 1;
  RCC_OscInitStruct.PLL.PLLN = 40;
  RCC_OscInitStruct.PLL.PLLP = RCC_PLLP_DIV7;
  RCC_OscInitStruct.PLL.PLLQ = RCC_PLLQ_DIV2;
  RCC_OscInitStruct.PLL.PLLR = RCC_PLLR_DIV2;
  if (HAL_RCC_OscConfig(&RCC_OscInitStruct) != HAL_OK)
  {
    Error_Handler();
  }

  /** Initializes the CPU, AHB and APB buses clocks
  */
  RCC_ClkInitStruct.ClockType = RCC_CLOCKTYPE_HCLK|RCC_CLOCKTYPE_SYSCLK
                              |RCC_CLOCKTYPE_PCLK1|RCC_CLOCKTYPE_PCLK2;
  RCC_ClkInitStruct.SYSCLKSource = RCC_SYSCLKSOURCE_PLLCLK;
  RCC_ClkInitStruct.AHBCLKDivider = RCC_SYSCLK_DIV1;
  RCC_ClkInitStruct.APB1CLKDivider = RCC_HCLK_DIV1;
  RCC_ClkInitStruct.APB2CLKDivider = RCC_HCLK_DIV1;

  if (HAL_RCC_ClockConfig(&RCC_ClkInitStruct, FLASH_LATENCY_4) != HAL_OK)
  {
    Error_Handler();
  }

  /** Enable MSI Auto calibration
  */
  HAL_RCCEx_EnableMSIPLLMode();
}

static void MX_DFSDM1_Init(void)
{

  hdfsdm1_channel1.Instance = DFSDM1_Channel1;
  hdfsdm1_channel1.Init.OutputClock.Activation = ENABLE;
  hdfsdm1_channel1.Init.OutputClock.Selection = DFSDM_CHANNEL_OUTPUT_CLOCK_SYSTEM;
  hdfsdm1_channel1.Init.OutputClock.Divider = 2;
  hdfsdm1_channel1.Init.Input.Multiplexer = DFSDM_CHANNEL_EXTERNAL_INPUTS;
  hdfsdm1_channel1.Init.Input.DataPacking = DFSDM_CHANNEL_STANDARD_MODE;
  hdfsdm1_channel1.Init.Input.Pins = DFSDM_CHANNEL_FOLLOWING_CHANNEL_PINS;
  hdfsdm1_channel1.Init.SerialInterface.Type = DFSDM_CHANNEL_SPI_RISING;
  hdfsdm1_channel1.Init.SerialInterface.SpiClock = DFSDM_CHANNEL_SPI_CLOCK_INTERNAL;
  hdfsdm1_channel1.Init.Awd.FilterOrder = DFSDM_CHANNEL_FASTSINC_ORDER;
  hdfsdm1_channel1.Init.Awd.Oversampling = 1;
  hdfsdm1_channel1.Init.Offset = 0;
  hdfsdm1_channel1.Init.RightBitShift = 0x00;
  if (HAL_DFSDM_ChannelInit(&hdfsdm1_channel1) != HAL_OK)
  {
    Error_Handler();
  }

}

static void MX_I2C2_Init(void)
{

  hi2c2.Instance = I2C2;
  hi2c2.Init.Timing = 0x00000E14;
  hi2c2.Init.OwnAddress1 = 0;
  hi2c2.Init.AddressingMode = I2C_ADDRESSINGMODE_7BIT;
  hi2c2.Init.DualAddressMode = I2C_DUALADDRESS_DISABLE;
  hi2c2.Init.OwnAddress2 = 0;
  hi2c2.Init.OwnAddress2Masks = I2C_OA2_NOMASK;
  hi2c2.Init.GeneralCallMode = I2C_GENERALCALL_DISABLE;
  hi2c2.Init.NoStretchMode = I2C_NOSTRETCH_DISABLE;
  if (HAL_I2C_Init(&hi2c2) != HAL_OK)
  {
    Error_Handler();
  }

  /** Configure Analogue filter
  */
  if (HAL_I2CEx_ConfigAnalogFilter(&hi2c2, I2C_ANALOGFILTER_ENABLE) != HAL_OK)
  {
    Error_Handler();
  }

  /** Configure Digital filter
  */
  if (HAL_I2CEx_ConfigDigitalFilter(&hi2c2, 0) != HAL_OK)
  {
    Error_Handler();
  }
  /* USER  BEGIN I2C2_Init 2 */

  /* USER CODE END I2C2_Init 2 */

}

static void MX_QUADSPI_Init(void)
{

  /* QUADSPI parameter configuration*/
  hqspi.Instance = QUADSPI;
  hqspi.Init.ClockPrescaler = 2;
  hqspi.Init.FifoThreshold = 4;
  hqspi.Init.SampleShifting = QSPI_SAMPLE_SHIFTING_HALFCYCLE;
  hqspi.Init.FlashSize = 23;
  hqspi.Init.ChipSelectHighTime = QSPI_CS_HIGH_TIME_1_CYCLE;
  hqspi.Init.ClockMode = QSPI_CLOCK_MODE_0;
  if (HAL_QSPI_Init(&hqspi) != HAL_OK)
  {
    Error_Handler();
  }

}

static void MX_SPI3_Init(void)
{

  /* SPI3 parameter configuration*/
  hspi3.Instance = SPI3;
  hspi3.Init.Mode = SPI_MODE_MASTER;
  hspi3.Init.Direction = SPI_DIRECTION_2LINES;
  hspi3.Init.DataSize = SPI_DATASIZE_4BIT;
  hspi3.Init.CLKPolarity = SPI_POLARITY_LOW;
  hspi3.Init.CLKPhase = SPI_PHASE_1EDGE;
  hspi3.Init.NSS = SPI_NSS_SOFT;
  hspi3.Init.BaudRatePrescaler = SPI_BAUDRATEPRESCALER_2;
  hspi3.Init.FirstBit = SPI_FIRSTBIT_MSB;
  hspi3.Init.TIMode = SPI_TIMODE_DISABLE;
  hspi3.Init.CRCCalculation = SPI_CRCCALCULATION_DISABLE;
  hspi3.Init.CRCPolynomial = 7;
  hspi3.Init.CRCLength = SPI_CRC_LENGTH_DATASIZE;
  hspi3.Init.NSSPMode = SPI_NSS_PULSE_ENABLE;
  if (HAL_SPI_Init(&hspi3) != HAL_OK)
  {
    Error_Handler();
  }

}

static void MX_USART1_UART_Init(void)
{

  huart1.Instance = USART1;
  huart1.Init.BaudRate = 115200;
  huart1.Init.WordLength = UART_WORDLENGTH_8B;
  huart1.Init.StopBits = UART_STOPBITS_1;
  huart1.Init.Parity = UART_PARITY_NONE;
  huart1.Init.Mode = UART_MODE_TX_RX;
  huart1.Init.HwFlowCtl = UART_HWCONTROL_NONE;
  huart1.Init.OverSampling = UART_OVERSAMPLING_16;
  huart1.Init.OneBitSampling = UART_ONE_BIT_SAMPLE_DISABLE;
  huart1.AdvancedInit.AdvFeatureInit = UART_ADVFEATURE_NO_INIT;
  if (HAL_UART_Init(&huart1) != HAL_OK)
  {
    Error_Handler();
  }

}

static void MX_USART3_UART_Init(void)
{

  huart3.Instance = USART3;
  huart3.Init.BaudRate = 115200;
  huart3.Init.WordLength = UART_WORDLENGTH_8B;
  huart3.Init.StopBits = UART_STOPBITS_1;
  huart3.Init.Parity = UART_PARITY_NONE;
  huart3.Init.Mode = UART_MODE_TX_RX;
  huart3.Init.HwFlowCtl = UART_HWCONTROL_NONE;
  huart3.Init.OverSampling = UART_OVERSAMPLING_16;
  huart3.Init.OneBitSampling = UART_ONE_BIT_SAMPLE_DISABLE;
  huart3.AdvancedInit.AdvFeatureInit = UART_ADVFEATURE_NO_INIT;
  if (HAL_UART_Init(&huart3) != HAL_OK)
  {
    Error_Handler();
  }

}

static void MX_USB_OTG_FS_PCD_Init(void)
{

  hpcd_USB_OTG_FS.Instance = USB_OTG_FS;
  hpcd_USB_OTG_FS.Init.dev_endpoints = 6;
  hpcd_USB_OTG_FS.Init.speed = PCD_SPEED_FULL;
  hpcd_USB_OTG_FS.Init.phy_itface = PCD_PHY_EMBEDDED;
  hpcd_USB_OTG_FS.Init.Sof_enable = DISABLE;
  hpcd_USB_OTG_FS.Init.low_power_enable = DISABLE;
  hpcd_USB_OTG_FS.Init.lpm_enable = DISABLE;
  hpcd_USB_OTG_FS.Init.battery_charging_enable = DISABLE;
  hpcd_USB_OTG_FS.Init.use_dedicated_ep1 = DISABLE;
  hpcd_USB_OTG_FS.Init.vbus_sensing_enable = DISABLE;
  if (HAL_PCD_Init(&hpcd_USB_OTG_FS) != HAL_OK)
  {
    Error_Handler();
  }

}

static void MX_GPIO_Init(void)
{
  GPIO_InitTypeDef GPIO_InitStruct = {0};

  /* GPIO Ports Clock Enable */
  __HAL_RCC_GPIOE_CLK_ENABLE();
  __HAL_RCC_GPIOC_CLK_ENABLE();
  __HAL_RCC_GPIOA_CLK_ENABLE();
  __HAL_RCC_GPIOB_CLK_ENABLE();
  __HAL_RCC_GPIOD_CLK_ENABLE();

  /*Configure GPIO pin Output Level */
  HAL_GPIO_WritePin(GPIOE, M24SR64_Y_RF_DISABLE_Pin|M24SR64_Y_GPO_Pin|ISM43362_RST_Pin, GPIO_PIN_RESET);

  /*Configure GPIO pin Output Level */
  HAL_GPIO_WritePin(GPIOA, ARD_D10_Pin|SPBTLE_RF_RST_Pin|ARD_D9_Pin, GPIO_PIN_RESET);

  /*Configure GPIO pin Output Level */
  HAL_GPIO_WritePin(GPIOB, ARD_D8_Pin|ISM43362_BOOT0_Pin|ISM43362_WAKEUP_Pin|LED2_Pin
                          |SPSGRF_915_SDN_Pin|ARD_D5_Pin, GPIO_PIN_RESET);

  /*Configure GPIO pin Output Level */
  HAL_GPIO_WritePin(GPIOD, USB_OTG_FS_PWR_EN_Pin|PMOD_RESET_Pin|STSAFE_A100_RESET_Pin, GPIO_PIN_RESET);

  /*Configure GPIO pin Output Level */
  HAL_GPIO_WritePin(SPBTLE_RF_SPI3_CSN_GPIO_Port, SPBTLE_RF_SPI3_CSN_Pin, GPIO_PIN_SET);

  /*Configure GPIO pin Output Level */
  HAL_GPIO_WritePin(GPIOC, VL53L0X_XSHUT_Pin|LED3_WIFI__LED4_BLE_Pin, GPIO_PIN_RESET);

  /*Configure GPIO pin Output Level */
  HAL_GPIO_WritePin(SPSGRF_915_SPI3_CSN_GPIO_Port, SPSGRF_915_SPI3_CSN_Pin, GPIO_PIN_SET);

  /*Configure GPIO pin Output Level */
  HAL_GPIO_WritePin(ISM43362_SPI3_CSN_GPIO_Port, ISM43362_SPI3_CSN_Pin, GPIO_PIN_SET);

  /*Configure GPIO pins : M24SR64_Y_RF_DISABLE_Pin M24SR64_Y_GPO_Pin ISM43362_RST_Pin ISM43362_SPI3_CSN_Pin */
  GPIO_InitStruct.Pin = M24SR64_Y_RF_DISABLE_Pin|M24SR64_Y_GPO_Pin|ISM43362_RST_Pin|ISM43362_SPI3_CSN_Pin;
  GPIO_InitStruct.Mode = GPIO_MODE_OUTPUT_PP;
  GPIO_InitStruct.Pull = GPIO_NOPULL;
  GPIO_InitStruct.Speed = GPIO_SPEED_FREQ_LOW;
  HAL_GPIO_Init(GPIOE, &GPIO_InitStruct);

  /*Configure GPIO pins : USB_OTG_FS_OVRCR_EXTI3_Pin SPSGRF_915_GPIO3_EXTI5_Pin SPBTLE_RF_IRQ_EXTI6_Pin ISM43362_DRDY_EXTI1_Pin */
  GPIO_InitStruct.Pin = USB_OTG_FS_OVRCR_EXTI3_Pin|SPSGRF_915_GPIO3_EXTI5_Pin|SPBTLE_RF_IRQ_EXTI6_Pin|ISM43362_DRDY_EXTI1_Pin;
  GPIO_InitStruct.Mode = GPIO_MODE_IT_RISING;
  GPIO_InitStruct.Pull = GPIO_NOPULL;
  HAL_GPIO_Init(GPIOE, &GPIO_InitStruct);

  /*Configure GPIO pin : BUTTON_EXTI13_Pin */
  GPIO_InitStruct.Pin = BUTTON_EXTI13_Pin;
  GPIO_InitStruct.Mode = GPIO_MODE_IT_FALLING;
  GPIO_InitStruct.Pull = GPIO_NOPULL;
  HAL_GPIO_Init(BUTTON_EXTI13_GPIO_Port, &GPIO_InitStruct);

  /*Configure GPIO pins : ARD_A5_Pin ARD_A4_Pin ARD_A3_Pin ARD_A2_Pin
                           ARD_A1_Pin ARD_A0_Pin */
  GPIO_InitStruct.Pin = ARD_A5_Pin|ARD_A4_Pin|ARD_A3_Pin|ARD_A2_Pin
                          |ARD_A1_Pin|ARD_A0_Pin;
  GPIO_InitStruct.Mode = GPIO_MODE_ANALOG_ADC_CONTROL;
  GPIO_InitStruct.Pull = GPIO_NOPULL;
  HAL_GPIO_Init(GPIOC, &GPIO_InitStruct);

  /*Configure GPIO pins : ARD_D1_Pin ARD_D0_Pin */
  GPIO_InitStruct.Pin = ARD_D1_Pin|ARD_D0_Pin;
  GPIO_InitStruct.Mode = GPIO_MODE_AF_PP;
  GPIO_InitStruct.Pull = GPIO_NOPULL;
  GPIO_InitStruct.Speed = GPIO_SPEED_FREQ_VERY_HIGH;
  GPIO_InitStruct.Alternate = GPIO_AF8_UART4;
  HAL_GPIO_Init(GPIOA, &GPIO_InitStruct);

  /*Configure GPIO pins : ARD_D10_Pin SPBTLE_RF_RST_Pin ARD_D9_Pin */
  GPIO_InitStruct.Pin = ARD_D10_Pin|SPBTLE_RF_RST_Pin|ARD_D9_Pin;
  GPIO_InitStruct.Mode = GPIO_MODE_OUTPUT_PP;
  GPIO_InitStruct.Pull = GPIO_NOPULL;
  GPIO_InitStruct.Speed = GPIO_SPEED_FREQ_LOW;
  HAL_GPIO_Init(GPIOA, &GPIO_InitStruct);

  /*Configure GPIO pin : ARD_D4_Pin */
  GPIO_InitStruct.Pin = ARD_D4_Pin;
  GPIO_InitStruct.Mode = GPIO_MODE_AF_PP;
  GPIO_InitStruct.Pull = GPIO_NOPULL;
  GPIO_InitStruct.Speed = GPIO_SPEED_FREQ_LOW;
  GPIO_InitStruct.Alternate = GPIO_AF1_TIM2;
  HAL_GPIO_Init(ARD_D4_GPIO_Port, &GPIO_InitStruct);

  /*Configure GPIO pin : ARD_D7_Pin */
  GPIO_InitStruct.Pin = ARD_D7_Pin;
  GPIO_InitStruct.Mode = GPIO_MODE_ANALOG_ADC_CONTROL;
  GPIO_InitStruct.Pull = GPIO_NOPULL;
  HAL_GPIO_Init(ARD_D7_GPIO_Port, &GPIO_InitStruct);

  /*Configure GPIO pins : ARD_D13_Pin ARD_D12_Pin ARD_D11_Pin */
  GPIO_InitStruct.Pin = ARD_D13_Pin|ARD_D12_Pin|ARD_D11_Pin;
  GPIO_InitStruct.Mode = GPIO_MODE_AF_PP;
  GPIO_InitStruct.Pull = GPIO_NOPULL;
  GPIO_InitStruct.Speed = GPIO_SPEED_FREQ_VERY_HIGH;
  GPIO_InitStruct.Alternate = GPIO_AF5_SPI1;
  HAL_GPIO_Init(GPIOA, &GPIO_InitStruct);

  /*Configure GPIO pin : ARD_D3_Pin */
  GPIO_InitStruct.Pin = ARD_D3_Pin;
  GPIO_InitStruct.Mode = GPIO_MODE_IT_RISING;
  GPIO_InitStruct.Pull = GPIO_NOPULL;
  HAL_GPIO_Init(ARD_D3_GPIO_Port, &GPIO_InitStruct);

  /*Configure GPIO pin : ARD_D6_Pin */
  GPIO_InitStruct.Pin = ARD_D6_Pin;
  GPIO_InitStruct.Mode = GPIO_MODE_ANALOG_ADC_CONTROL;
  GPIO_InitStruct.Pull = GPIO_NOPULL;
  HAL_GPIO_Init(ARD_D6_GPIO_Port, &GPIO_InitStruct);

  /*Configure GPIO pins : ARD_D8_Pin ISM43362_BOOT0_Pin ISM43362_WAKEUP_Pin LED2_Pin
                           SPSGRF_915_SDN_Pin ARD_D5_Pin SPSGRF_915_SPI3_CSN_Pin */
  GPIO_InitStruct.Pin = ARD_D8_Pin|ISM43362_BOOT0_Pin|ISM43362_WAKEUP_Pin|LED2_Pin
                          |SPSGRF_915_SDN_Pin|ARD_D5_Pin|SPSGRF_915_SPI3_CSN_Pin;
  GPIO_InitStruct.Mode = GPIO_MODE_OUTPUT_PP;
  GPIO_InitStruct.Pull = GPIO_NOPULL;
  GPIO_InitStruct.Speed = GPIO_SPEED_FREQ_LOW;
  HAL_GPIO_Init(GPIOB, &GPIO_InitStruct);

  /*Configure GPIO pins : LPS22HB_INT_DRDY_EXTI0_Pin LSM6DSL_INT1_EXTI11_Pin ARD_D2_Pin HTS221_DRDY_EXTI15_Pin
                           PMOD_IRQ_EXTI12_Pin */
  GPIO_InitStruct.Pin = LPS22HB_INT_DRDY_EXTI0_Pin|LSM6DSL_INT1_EXTI11_Pin|ARD_D2_Pin|HTS221_DRDY_EXTI15_Pin
                          |PMOD_IRQ_EXTI12_Pin;
  GPIO_InitStruct.Mode = GPIO_MODE_IT_RISING;
  GPIO_InitStruct.Pull = GPIO_NOPULL;
  HAL_GPIO_Init(GPIOD, &GPIO_InitStruct);

  /*Configure GPIO pins : USB_OTG_FS_PWR_EN_Pin SPBTLE_RF_SPI3_CSN_Pin PMOD_RESET_Pin STSAFE_A100_RESET_Pin */
  GPIO_InitStruct.Pin = USB_OTG_FS_PWR_EN_Pin|SPBTLE_RF_SPI3_CSN_Pin|PMOD_RESET_Pin|STSAFE_A100_RESET_Pin;
  GPIO_InitStruct.Mode = GPIO_MODE_OUTPUT_PP;
  GPIO_InitStruct.Pull = GPIO_NOPULL;
  GPIO_InitStruct.Speed = GPIO_SPEED_FREQ_LOW;
  HAL_GPIO_Init(GPIOD, &GPIO_InitStruct);

  /*Configure GPIO pins : VL53L0X_XSHUT_Pin LED3_WIFI__LED4_BLE_Pin */
  GPIO_InitStruct.Pin = VL53L0X_XSHUT_Pin|LED3_WIFI__LED4_BLE_Pin;
  GPIO_InitStruct.Mode = GPIO_MODE_OUTPUT_PP;
  GPIO_InitStruct.Pull = GPIO_NOPULL;
  GPIO_InitStruct.Speed = GPIO_SPEED_FREQ_LOW;
  HAL_GPIO_Init(GPIOC, &GPIO_InitStruct);

  /*Configure GPIO pins : VL53L0X_GPIO1_EXTI7_Pin LSM3MDL_DRDY_EXTI8_Pin */
  GPIO_InitStruct.Pin = VL53L0X_GPIO1_EXTI7_Pin|LSM3MDL_DRDY_EXTI8_Pin;
  GPIO_InitStruct.Mode = GPIO_MODE_IT_RISING;
  GPIO_InitStruct.Pull = GPIO_NOPULL;
  HAL_GPIO_Init(GPIOC, &GPIO_InitStruct);

  /*Configure GPIO pin : PMOD_SPI2_SCK_Pin */
  GPIO_InitStruct.Pin = PMOD_SPI2_SCK_Pin;
  GPIO_InitStruct.Mode = GPIO_MODE_AF_PP;
  GPIO_InitStruct.Pull = GPIO_NOPULL;
  GPIO_InitStruct.Speed = GPIO_SPEED_FREQ_VERY_HIGH;
  GPIO_InitStruct.Alternate = GPIO_AF5_SPI2;
  HAL_GPIO_Init(PMOD_SPI2_SCK_GPIO_Port, &GPIO_InitStruct);

  /*Configure GPIO pins : PMOD_UART2_CTS_Pin PMOD_UART2_RTS_Pin PMOD_UART2_TX_Pin PMOD_UART2_RX_Pin */
  GPIO_InitStruct.Pin = PMOD_UART2_CTS_Pin|PMOD_UART2_RTS_Pin|PMOD_UART2_TX_Pin|PMOD_UART2_RX_Pin;
  GPIO_InitStruct.Mode = GPIO_MODE_AF_PP;
  GPIO_InitStruct.Pull = GPIO_NOPULL;
  GPIO_InitStruct.Speed = GPIO_SPEED_FREQ_VERY_HIGH;
  GPIO_InitStruct.Alternate = GPIO_AF7_USART2;
  HAL_GPIO_Init(GPIOD, &GPIO_InitStruct);

  /*Configure GPIO pins : ARD_D15_Pin ARD_D14_Pin */
  GPIO_InitStruct.Pin = ARD_D15_Pin|ARD_D14_Pin;
  GPIO_InitStruct.Mode = GPIO_MODE_AF_OD;
  GPIO_InitStruct.Pull = GPIO_NOPULL;
  GPIO_InitStruct.Speed = GPIO_SPEED_FREQ_VERY_HIGH;
  GPIO_InitStruct.Alternate = GPIO_AF4_I2C1;
  HAL_GPIO_Init(GPIOB, &GPIO_InitStruct);

  /* EXTI interrupt init*/
  HAL_NVIC_SetPriority(EXTI9_5_IRQn, 0, 0);
  HAL_NVIC_EnableIRQ(EXTI9_5_IRQn);

  HAL_NVIC_SetPriority(EXTI15_10_IRQn, 0, 0);
  HAL_NVIC_EnableIRQ(EXTI15_10_IRQn);

}

/* USER CODE BEGIN 4 */
/* Critical Event Handling Function */
void HandleCriticalEvent(void)
{
    printf("** Critical event detected! Pausing routine tasks. **\r\n");

      for (int i = 0; i < 5; i++)
      {
          HAL_GPIO_TogglePin(GPIOB, GPIO_PIN_14);
          HAL_GPIO_TogglePin(GPIOC, GPIO_PIN_9);
          HAL_Delay(100);  // short delay
          HAL_GPIO_TogglePin(GPIOB, GPIO_PIN_14);
          HAL_GPIO_TogglePin(GPIOC, GPIO_PIN_9);
      }
      HAL_Delay(1000);
      // Re-read accelerometer data to check vibration levels
      int16_t accel_data_i16[3] = {0};
      BSP_ACCELERO_AccGetXYZ(accel_data_i16);
      float accel_x = (float)accel_data_i16[0] / 100.0f;
      float accel_y = (float)accel_data_i16[1] / 100.0f;
      float accel_z = (float)accel_data_i16[2] / 100.0f;

      // Check if all axes are within safe thresholds
      if ((fabs(accel_x) <= VIBRATION_THRESHOLD_X) &&
          (fabs(accel_y) <= VIBRATION_THRESHOLD_Y) &&
          (fabs(accel_z) <= VIBRATION_THRESHOLD_Z))
      {
           printf("** Vibration has returned to safe levels. Resuming normal operations. **\r\n");
           criticalEventFlag = 0;  // Clear the flag as conditions are now safe
      }
      else
      {
           printf("** Vibration still above safe thresholds. Maintaining critical state. **\r\n");
           criticalEventFlag = 1;  // Keep the flag set
      }
}
/* USER CODE END 4 */

void Error_Handler(void)
{
  __disable_irq();
  while (1)
  {
  }
}
